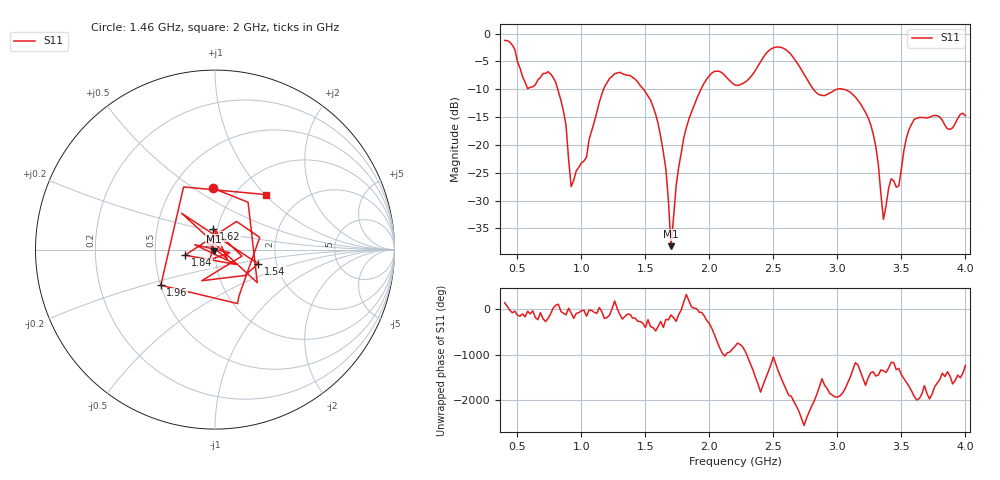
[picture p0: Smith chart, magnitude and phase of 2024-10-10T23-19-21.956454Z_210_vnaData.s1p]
! Created with skrf (http://scikit-rf.org).
# Hz S RI R 50.0
!freq ReS11 ImS11
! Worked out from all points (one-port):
!   181 points, 400 MHz to 4 GHz, reference 50 ohm
!   lowest |S11| = -38.2 dB at 1.7 GHz (marker M1), VSWR 1.02, Z = 49.3 - j1.03 ohm
!   |S11| at or under -10 dB: 814.8 MHz to 1.173 GHz (358.7 MHz wide, 36.1 % of centre); 1.485 GHz to 1.935 GHz (449.8 MHz wide, 26.3 % of centre); 3.044 GHz to end of sweep (the widest 3 of 4)
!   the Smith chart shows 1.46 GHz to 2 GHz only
!   S11 on the Smith chart (normalised r, x): 1.46 GHz: 0.78, +0.60; 1.54 GHz: 1.61, -0.27; 1.62 GHz: 0.96, +0.23; 1.84 GHz: 0.71, -0.05; 1.96 GHz: 0.50, -0.23; 2 GHz: 1.37, +1.02
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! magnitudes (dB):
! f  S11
! 400 MHz  -1.2
! 580 MHz  -9.9
! 760 MHz  -7.2
! 860 MHz  -14.0
! 920 MHz  -27.5
! 1.04 GHz  -22.2
! 1.18 GHz  -9.6
! 1.3 GHz  -7.0
! 1.46 GHz  -9.4
! 1.54 GHz  -11.9
! 1.62 GHz  -18.6
! 1.66 GHz  -24.4
! 1.7 GHz  -38.2
! 1.76 GHz  -24.0
! 1.84 GHz  -15.4
! 1.96 GHz  -8.8
! 2 GHz  -7.6
! 2.2 GHz  -9.2
! 2.5 GHz  -2.6
! 2.66 GHz  -4.4
! 2.86 GHz  -11.0
! 3.1 GHz  -10.5
! 3.28 GHz  -18.1
! 3.36 GHz  -33.4
! 3.42 GHz  -26.1
! 3.48 GHz  -27.3
! 3.56 GHz  -17.2
! 4 GHz  -14.8
